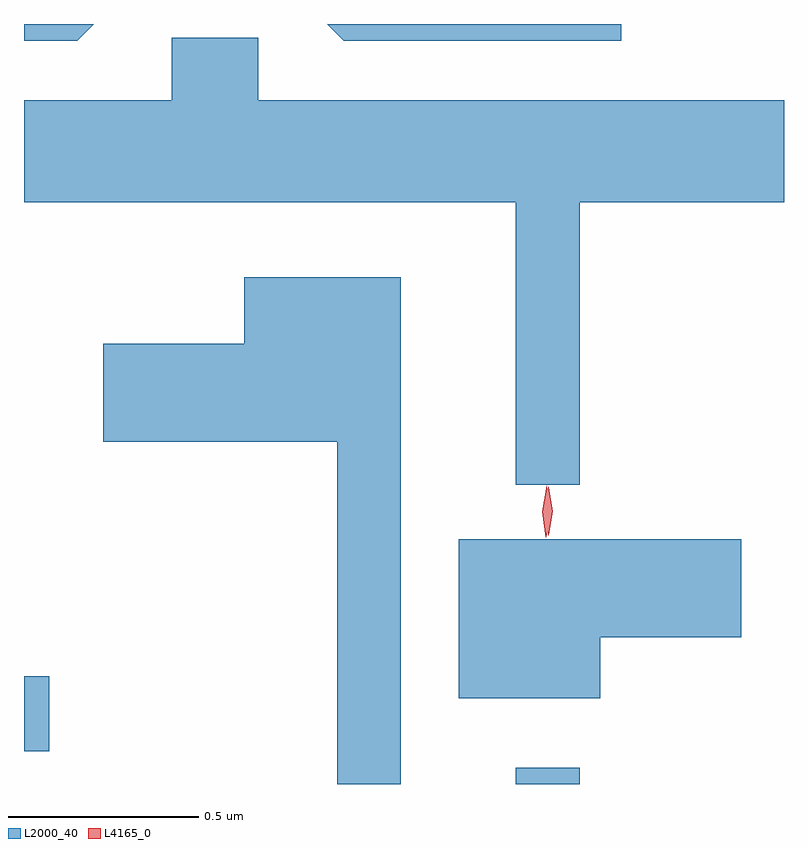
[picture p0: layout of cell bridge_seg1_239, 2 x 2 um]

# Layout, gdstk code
import gdstk
lib = gdstk.Library(unit=1e-6, precision=1e-09)
def R(c, l, rs):  # rectangles x0, y0, x1, y1
    for r in rs: c.add(gdstk.rectangle(r[:2], r[2:], *l))
def P(c, l, *ps):  # polygons
    for p in ps: c.add(gdstk.Polygon(p, *l))
L2000_40 = (2000, 40)
L4165_0 = (4165, 0)

bridge_seg1_239 = lib.new_cell('bridge_seg1_239')
R(bridge_seg1_239, L2000_40, [(779.891,869.185,780.059,869.228), (778.597,869.271,778.664,869.469)])
P(bridge_seg1_239, L2000_40, [(778.781,871.185),(778.597,871.185),(778.597,871.141),(778.737,871.141)],
  [(780.169,871.185),(779.395,871.185),(779.439,871.141),(780.169,871.141)],
  [(780.059,870.716),(780.597,870.716),(780.597,870.984),(779.214,870.984),(779.214,871.149),(778.986,871.149),(778.986,870.984),(778.597,870.984),(778.597,870.716),(779.891,870.716),(779.891,869.973),(780.059,869.973)],
  [(779.589,870.519),(779.176,870.519),(779.176,870.344),(778.806,870.344),(778.806,870.086),(779.421,870.086),(779.421,869.185),(779.589,869.185)],
  [(780.114,869.571),(780.484,869.571),(780.484,869.829),(779.741,869.829),(779.741,869.411),(780.114,869.411)])
P(bridge_seg1_239, L4165_0, [(779.977,869.84),(779.977,869.84),(779.967,869.903),(779.977,869.966),(779.977,869.967),(779.978,869.966),(779.988,869.903),(779.978,869.84)],
  [(779.97,869.834),(779.97,869.834),(779.961,869.902),(779.972,869.97),(779.972,869.97),(779.973,869.97),(779.981,869.902),(779.971,869.834)])

lib.write_gds('bridge_seg1_239.gds')
